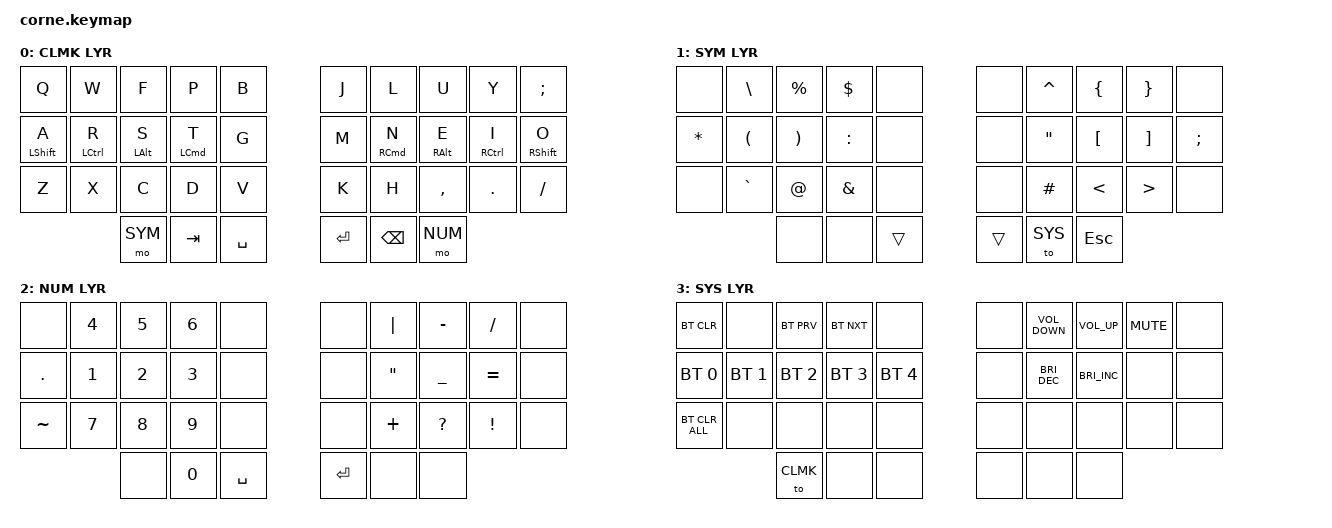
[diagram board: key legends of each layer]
#include <behaviors.dtsi>
#include <dt-bindings/zmk/keys.h>
#include <dt-bindings/zmk/bt.h>

#define CLMK 0
#define SYM 1
#define NUM 2
#define SYS 3


/ {
  chosen {
    zmk,physical-layout = <&foostan_corne_5col_layout>;
  };

  behaviors {
    hml: home_row_mod_left {
        compatible = "zmk,behavior-hold-tap";
        #binding-cells = <2>;
        flavor = "balanced";
        require-prior-idle-ms = <150>;
        tapping-term-ms = <280>;
        quick-tap-ms = <175>;
        bindings = <&kp>, <&kp>;
        hold-trigger-key-positions = <
          5 6 7 8 9
          15 16 17 18 19
          25 26 27 28 29
        >; // List of keys on the right side of the keyboard
        hold-trigger-on-release;
    };
    hmr: home_row_mod_right {
        compatible = "zmk,behavior-hold-tap";
        #binding-cells = <2>;
        flavor = "balanced";
        require-prior-idle-ms = <150>;
        tapping-term-ms = <280>;
        quick-tap-ms = <175>;
        bindings = <&kp>, <&kp>;
        hold-trigger-key-positions = <
          0 1 2 3 4
          10 11 12 13 14
          20 21 22 23 24
        >; // List of keys on the left side of the keyboard
        hold-trigger-on-release;
    };
  };
  keymap {
    compatible = "zmk,keymap";

    colemak_dhm {
      display-name = "CLMK LYR";
      bindings = <
        &kp Q &kp W &kp F &kp P &kp B &kp J &kp L &kp U &kp Y &kp SEMI
        &hml LSHIFT A &hml LCTRL R &hml LALT S &hml LCMD T &kp G &kp M &hmr RCMD N &hmr RALT E &hmr RCTRL I &hmr RSHFT O
        &kp Z &kp X &kp C &kp D &kp V &kp K &kp H &kp COMMA &kp DOT &kp FSLH
                &mo SYM &kp TAB &kp SPACE &kp ENTER &kp BSPC &mo NUM
      >;
    };

    symbol_layer {
      display-name = "SYM LYR";
      bindings = <
        &none &kp BSLH &kp PRCNT &kp DOLLAR &none &none &kp CARET &kp LBRC &kp RBRC &none
        &kp ASTERISK &kp LPAR &kp RPAR &kp COLON &none &none &kp DQT &kp LBKT &kp RBKT &kp SEMI
        &none &kp GRAVE &kp AT &kp AMPS &none &none &kp HASH &kp LT &kp GT &none
                    &none &none &trans &trans &to SYS &kp ESC
      >;
    };

    number_layer {
      display-name = "NUM LYR";
      bindings = <
        &none &kp N4 &kp N5 &kp N6 &none &none &kp PIPE &kp MINUS &kp FSLH &none
        &kp DOT &kp N1 &kp N2 &kp N3 &none &none &kp DQT &kp UNDERSCORE &kp EQUAL &none
        &kp TILDE &kp N7 &kp N8 &kp N9 &none &none &kp PLUS &kp QMARK &kp EXCL &none
                &none &kp N0 &kp SPACE &kp ENTER &none &none
      >;
    };

    system_layer {
      display-name = "SYS LYR";
      bindings = <
        &bt BT_CLR &none &bt BT_PRV &bt BT_NXT &none &none &kp C_VOLUME_DOWN &kp C_VOLUME_UP &kp C_MUTE &none
        &bt BT_SEL 0 &bt BT_SEL 1 &bt BT_SEL 2 &bt BT_SEL 3 &bt BT_SEL 4 &none &kp C_BRIGHTNESS_DEC &kp C_BRIGHTNESS_INC &none &none
        &bt BT_CLR_ALL &none &none &none &none &none &none &none &none &none
                &to CLMK &none &none &none &none &none
      >;
    };
  };
};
